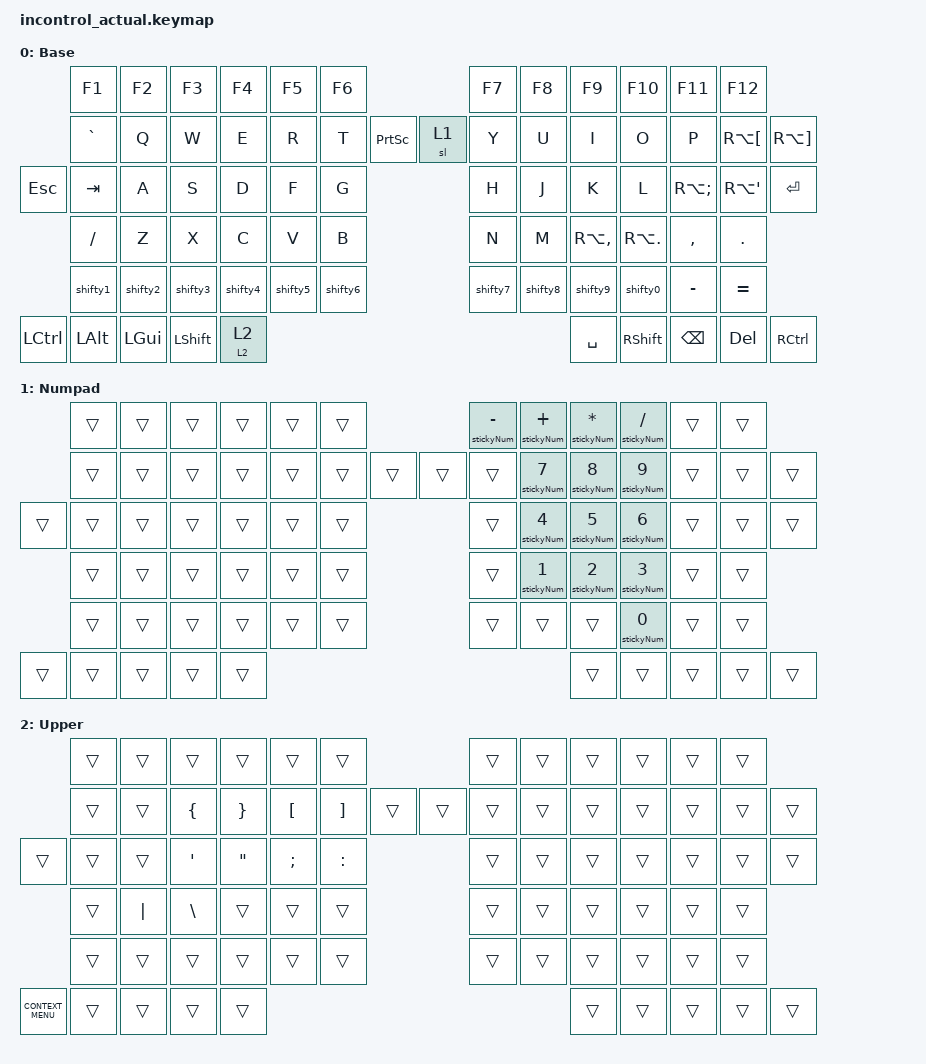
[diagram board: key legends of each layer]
#include <behaviors.dtsi>
#include <dt-bindings/zmk/keys.h>

&sl {
    release-after-ms = <5000>;
};

/ {
    behaviors {
        shifty1: shifty1 {
            compatible = "zmk,behavior-mod-morph";
            label = "SHIFTY1";
            #binding-cells = <0>;
            mods = <(MOD_LCTL|MOD_LSFT|MOD_LALT|MOD_LGUI|MOD_RCTL|MOD_RSFT|MOD_RALT|MOD_RGUI)>;
            keep-mods = <(MOD_LCTL|MOD_LALT|MOD_LGUI|MOD_RCTL|MOD_RALT|MOD_RGUI)>;
            bindings = <&kp EXCL>, <&kp N1>;
        };

        shifty2: shifty2 {
            compatible = "zmk,behavior-mod-morph";
            label = "SHIFTY2";
            #binding-cells = <0>;
            mods = <(MOD_LCTL|MOD_LSFT|MOD_LALT|MOD_LGUI|MOD_RCTL|MOD_RSFT|MOD_RALT|MOD_RGUI)>;
            keep-mods = <(MOD_LCTL|MOD_LALT|MOD_LGUI|MOD_RCTL|MOD_RALT|MOD_RGUI)>;
            bindings = <&kp AT>, <&kp N2>;
        };

        shifty3: shifty3 {
            compatible = "zmk,behavior-mod-morph";
            label = "SHIFTY3";
            #binding-cells = <0>;
            mods = <(MOD_LCTL|MOD_LSFT|MOD_LALT|MOD_LGUI|MOD_RCTL|MOD_RSFT|MOD_RALT|MOD_RGUI)>;
            keep-mods = <(MOD_LCTL|MOD_LALT|MOD_LGUI|MOD_RCTL|MOD_RALT|MOD_RGUI)>;
            bindings = <&kp POUND>, <&kp N3>;
        };

        shifty4: shifty4 {
            compatible = "zmk,behavior-mod-morph";
            label = "SHIFTY4";
            #binding-cells = <0>;
            mods = <(MOD_LCTL|MOD_LSFT|MOD_LALT|MOD_LGUI|MOD_RCTL|MOD_RSFT|MOD_RALT|MOD_RGUI)>;
            keep-mods = <(MOD_LCTL|MOD_LALT|MOD_LGUI|MOD_RCTL|MOD_RALT|MOD_RGUI)>;
            bindings = <&kp DOLLAR>, <&kp N4>;
        };

        shifty5: shifty5 {
            compatible = "zmk,behavior-mod-morph";
            label = "SHIFTY5";
            #binding-cells = <0>;
            mods = <(MOD_LCTL|MOD_LSFT|MOD_LALT|MOD_LGUI|MOD_RCTL|MOD_RSFT|MOD_RALT|MOD_RGUI)>;
            keep-mods = <(MOD_LCTL|MOD_LALT|MOD_LGUI|MOD_RCTL|MOD_RALT|MOD_RGUI)>;
            bindings = <&kp PERCENT>, <&kp N5>;
        };

        shifty6: shifty6 {
            compatible = "zmk,behavior-mod-morph";
            label = "SHIFTY6";
            #binding-cells = <0>;
            mods = <(MOD_LCTL|MOD_LSFT|MOD_LALT|MOD_LGUI|MOD_RCTL|MOD_RSFT|MOD_RALT|MOD_RGUI)>;
            keep-mods = <(MOD_LCTL|MOD_LALT|MOD_LGUI|MOD_RCTL|MOD_RALT|MOD_RGUI)>;
            bindings = <&kp CARET>, <&kp N6>;
        };

        shifty7: shifty7 {
            compatible = "zmk,behavior-mod-morph";
            label = "SHIFTY7";
            #binding-cells = <0>;
            mods = <(MOD_LCTL|MOD_LSFT|MOD_LALT|MOD_LGUI|MOD_RCTL|MOD_RSFT|MOD_RALT|MOD_RGUI)>;
            keep-mods = <(MOD_LCTL|MOD_LALT|MOD_LGUI|MOD_RCTL|MOD_RALT|MOD_RGUI)>;
            bindings = <&kp AMPS>, <&kp N7>;
        };

        shifty8: shifty8 {
            compatible = "zmk,behavior-mod-morph";
            label = "SHIFTY8";
            #binding-cells = <0>;
            mods = <(MOD_LCTL|MOD_LSFT|MOD_LALT|MOD_LGUI|MOD_RCTL|MOD_RSFT|MOD_RALT|MOD_RGUI)>;
            keep-mods = <(MOD_LCTL|MOD_LALT|MOD_LGUI|MOD_RCTL|MOD_RALT|MOD_RGUI)>;
            bindings = <&kp ASTERISK>, <&kp N8>;
        };

        shifty9: shifty9 {
            compatible = "zmk,behavior-mod-morph";
            label = "SHIFTY9";
            #binding-cells = <0>;
            mods = <(MOD_LCTL|MOD_LSFT|MOD_LALT|MOD_LGUI|MOD_RCTL|MOD_RSFT|MOD_RALT|MOD_RGUI)>;
            keep-mods = <(MOD_LCTL|MOD_LALT|MOD_LGUI|MOD_RCTL|MOD_RALT|MOD_RGUI)>;
            bindings = <&kp LEFT_PARENTHESIS>, <&kp N9>;
        };

        shifty0: shifty0 {
            compatible = "zmk,behavior-mod-morph";
            label = "SHIFTY0";
            #binding-cells = <0>;
            mods = <(MOD_LCTL|MOD_LSFT|MOD_LALT|MOD_LGUI|MOD_RCTL|MOD_RSFT|MOD_RALT|MOD_RGUI)>;
            keep-mods = <(MOD_LCTL|MOD_LALT|MOD_LGUI|MOD_RCTL|MOD_RALT|MOD_RGUI)>;
            bindings = <&kp RIGHT_PARENTHESIS>, <&kp N0>;
        };

        tappyLayer: tappyLayer {
            compatible = "zmk,behavior-hold-tap";
            label = "TAPPYLAYER";
            bindings = <&mo>, <&sl>;

            #binding-cells = <2>;
            tapping-term-ms = <200>;
        };
    };

    macros {
        stickyNum: num0 {
            compatible = "zmk,behavior-macro-one-param";
            #binding-cells = <1>;
            bindings = <&macro_param_1to1 &kp MACRO_PLACEHOLDER &sl 1>;
            label = "NUM0";
        };
    };

    keymap {
        compatible = "zmk,keymap";

        Base {
            bindings = <
           &kp F1     &kp F2    &kp F3    &kp F4    &kp F5     &kp F6                                   &kp F7     &kp F8     &kp F9         &kp F10      &kp F11       &kp F12
           &kp GRAVE  &kp Q     &kp W     &kp E     &kp R      &kp T            &kp PRINTSCREEN  &sl 1  &kp Y      &kp U      &kp I          &kp O        &kp P         &kp RA(LEFT_BRACKET)  &kp RA(RIGHT_BRACKET)
&kp ESC    &kp TAB    &kp A     &kp S     &kp D     &kp F      &kp G                                    &kp H      &kp J      &kp K          &kp L        &kp RA(SEMI)  &kp RA(SQT)           &kp RET
           &kp FSLH   &kp Z     &kp X     &kp C     &kp V      &kp B                                    &kp N      &kp M      &kp RA(COMMA)  &kp RA(DOT)  &kp COMMA     &kp PERIOD
           &shifty1   &shifty2  &shifty3  &shifty4  &shifty5   &shifty6                                 &shifty7   &shifty8   &shifty9       &shifty0     &kp MINUS     &kp EQUAL
&kp LCTRL                       &kp LALT  &kp LGUI  &kp LSHFT  &tappyLayer 2 2                          &kp SPACE  &kp RSHFT  &kp BSPC       &kp DEL                                          &kp RCTRL
            >;
        };

        Numpad {
            bindings = <
        &trans  &trans  &trans  &trans  &trans  &trans                  &stickyNum MINUS  &stickyNum PLUS  &stickyNum ASTERISK  &stickyNum SLASH  &trans  &trans
        &trans  &trans  &trans  &trans  &trans  &trans  &trans  &trans  &trans            &stickyNum N7    &stickyNum N8        &stickyNum N9     &trans  &trans  &trans
&trans  &trans  &trans  &trans  &trans  &trans  &trans                  &trans            &stickyNum N4    &stickyNum N5        &stickyNum N6     &trans  &trans  &trans
        &trans  &trans  &trans  &trans  &trans  &trans                  &trans            &stickyNum N1    &stickyNum N2        &stickyNum N3     &trans  &trans
        &trans  &trans  &trans  &trans  &trans  &trans                  &trans            &trans           &trans               &stickyNum N0     &trans  &trans
&trans                  &trans  &trans  &trans  &trans                  &trans            &trans           &trans               &trans                            &trans
            >;
        };

        Upper {
            bindings = <
                    &trans  &trans    &trans            &trans             &trans            &trans                             &trans  &trans  &trans  &trans  &trans  &trans
                    &trans  &trans    &kp LEFT_BRACE    &kp RIGHT_BRACE    &kp LEFT_BRACKET  &kp RIGHT_BRACKET  &trans  &trans  &trans  &trans  &trans  &trans  &trans  &trans  &trans
&trans              &trans  &trans    &kp SINGLE_QUOTE  &kp DOUBLE_QUOTES  &kp SEMI          &kp COLON                          &trans  &trans  &trans  &trans  &trans  &trans  &trans
                    &trans  &kp PIPE  &kp BACKSLASH     &trans             &trans            &trans                             &trans  &trans  &trans  &trans  &trans  &trans
                    &trans  &trans    &trans            &trans             &trans            &trans                             &trans  &trans  &trans  &trans  &trans  &trans
&kp K_CONTEXT_MENU                    &trans            &trans             &trans            &trans                             &trans  &trans  &trans  &trans                  &trans
            >;
        };
    };
};
